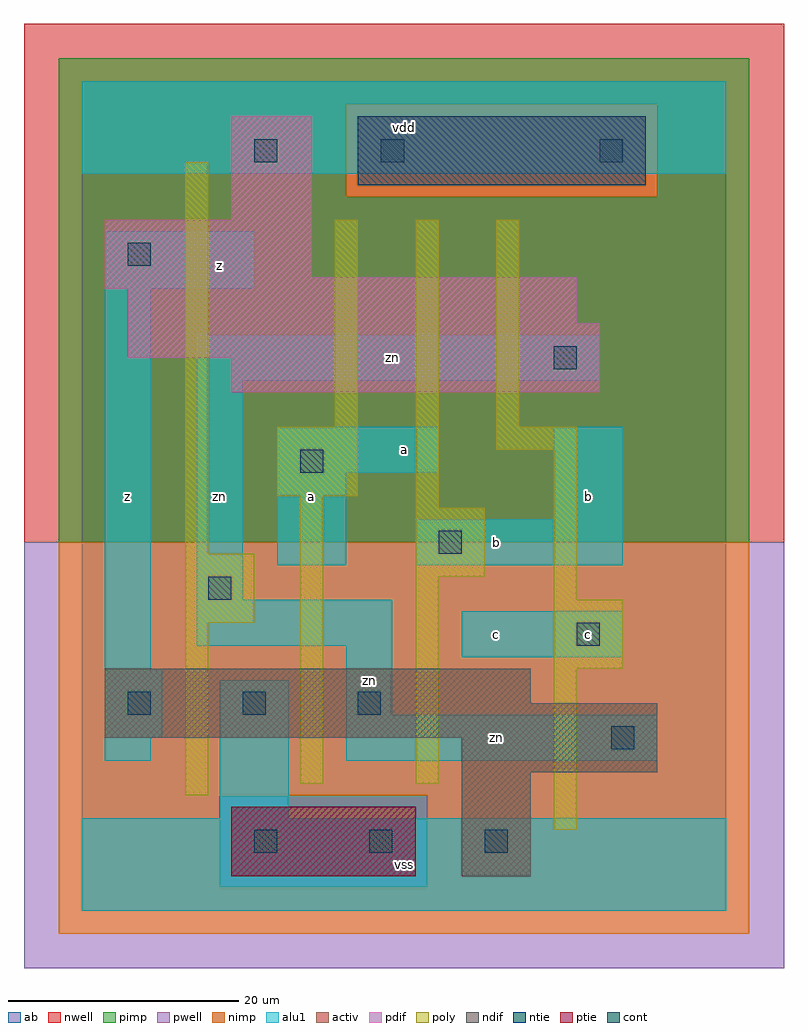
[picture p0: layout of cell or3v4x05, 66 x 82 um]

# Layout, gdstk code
import gdstk
lib = gdstk.Library(unit=1e-6, precision=1e-09)
def R(c, l, rs):  # rectangles x0, y0, x1, y1
    for r in rs: c.add(gdstk.rectangle(r[:2], r[2:], *l))
def A(c, l, x, y, w, h, nx, ny, dx, dy):  # array of equal rectangles
    R(c, l, [(x+i*dx, y+j*dy, x+i*dx+w, y+j*dy+h) for i in range(nx) for j in range(ny)])
ndif = (3, 0)
pdif = (4, 0)
ntie = (5, 0)
ptie = (6, 0)
cont = (25, 0)
pwell = (41, 0)
nwell = (42, 0)
activ = (43, 0)
pimp = (44, 0)
nimp = (45, 0)
poly = (46, 0)
alu1 = (49, 0)
ab = (63, 0)

or3v4x05 = lib.new_cell('or3v4x05')
R(or3v4x05, ndif, [(33,3,39,12), (33,12,50,15), (2,15,50,18), (2,18,39,21)])
R(or3v4x05, pdif, [(13,45,45,48), (4,48,45,51), (4,51,43,54), (2,54,43,55), (2,55,20,60), (13,60,20,69)])
R(or3v4x05, ntie, [(24,63,49,69)])
R(or3v4x05, ptie, [(13,3,29,9)])
A(or3v4x05, cont, 15, 5, 2, 2, 3, 1, 10, 0)
A(or3v4x05, cont, 4, 17, 2, 2, 3, 1, 10, 0)
R(or3v4x05, cont, [(46,14,48,16), (43,23,45,25), (11,27,13,29), (31,31,33,33), (19,38,21,40), (41,47,43,49), (4,56,6,58), (15,65,17,67), (26,65,28,67), (45,65,47,67)])
R(or3v4x05, pwell, [(-5,-5,61,32)])
R(or3v4x05, nwell, [(-5,32,61,77)])
R(or3v4x05, activ, [(13,3,29,9), (33,3,39,12), (33,12,50,15), (2,15,50,18), (2,18,39,21), (13,45,45,48), (4,48,45,51), (4,51,43,54), (2,54,43,55), (2,55,20,60), (13,60,20,69), (24,63,49,69)])
R(or3v4x05, pimp, [(12,2,30,10), (-2,32,58,62), (-2,62,23,70), (50,62,58,70), (-2,70,58,74)])
R(or3v4x05, nimp, [(-2,-2,58,2), (-2,2,12,10), (30,2,58,10), (-2,10,58,32), (23,62,50,70)])
R(or3v4x05, poly, [(41,7,43,21), (9,10,11,25), (19,11,21,36), (29,11,31,29), (41,21,47,27), (9,25,15,31), (41,27,43,40), (29,29,35,35), (9,31,11,65), (29,35,31,60), (17,36,24,42), (36,40,43,42), (22,42,24,60), (36,42,38,60)])
R(or3v4x05, alu1, [(0,0,56,8), (12,8,18,20), (2,13,6,15), (23,13,50,17), (2,15,7,21), (23,17,27,23), (2,21,6,54), (33,22,47,26), (10,23,27,27), (10,27,14,46), (17,30,23,38), (29,30,47,34), (41,34,47,42), (17,38,31,42), (10,46,45,50), (2,54,15,59), (0,64,56,72)])
R(or3v4x05, ab, [(0,0,56,72)])
or3v4x05.add(gdstk.Label('zn', (12,36), layer=49, texttype=0))
or3v4x05.add(gdstk.Label('zn', (25,20), layer=49, texttype=0))
or3v4x05.add(gdstk.Label('zn', (36,15), layer=49, texttype=0))
or3v4x05.add(gdstk.Label('zn', (27,48), layer=49, texttype=0))
or3v4x05.add(gdstk.Label('z', (4,36), layer=49, texttype=0))
or3v4x05.add(gdstk.Label('a', (20,36), layer=49, texttype=0))
or3v4x05.add(gdstk.Label('z', (12,56), layer=49, texttype=0))
or3v4x05.add(gdstk.Label('vss', (28,4), layer=49, texttype=0))
or3v4x05.add(gdstk.Label('c', (36,24), layer=49, texttype=0))
or3v4x05.add(gdstk.Label('b', (36,32), layer=49, texttype=0))
or3v4x05.add(gdstk.Label('a', (28,40), layer=49, texttype=0))
or3v4x05.add(gdstk.Label('vdd', (28,68), layer=49, texttype=0))
or3v4x05.add(gdstk.Label('c', (44,24), layer=49, texttype=0))
or3v4x05.add(gdstk.Label('b', (44,36), layer=49, texttype=0))

lib.write_gds('or3v4x05.gds')
